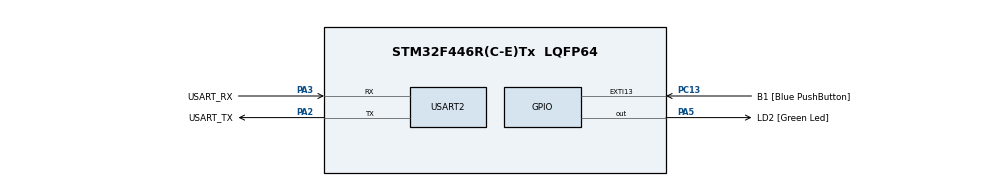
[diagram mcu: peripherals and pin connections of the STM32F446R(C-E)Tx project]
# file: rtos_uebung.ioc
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FREERTOS.Tasks01=defaultTask,0,128,StartDefaultTask,Default,NULL,Dynamic,NULL,NULL
Mcu.Family=STM32F4
Mcu.Name=STM32F446R(C-E)Tx
Mcu.Package=LQFP64
NVIC.EXTI15_10_IRQn=true\:5\:0\:false\:false\:true\:true\:true\:true\:true
NVIC.PriorityGroup=NVIC_PRIORITYGROUP_4
PA13.GPIO_Label=TMS
PA13.Mode=Serial_Wire
PA13.Signal=SYS_JTMS-SWDIO
PA14.GPIO_Label=TCK
PA14.Mode=Serial_Wire
PA14.Signal=SYS_JTCK-SWCLK
PA2.GPIO_Label=USART_TX
PA2.Mode=Asynchronous
PA2.Signal=USART2_TX
PA3.GPIO_Label=USART_RX
PA3.Mode=Asynchronous
PA3.Signal=USART2_RX
PA5.GPIO_Label=LD2 [Green Led]
PA5.Signal=GPIO_Output
PB3.GPIO_Label=SWO
PB3.Signal=SYS_JTDO-SWO
PC13.GPIO_Label=B1 [Blue PushButton]
PC13.GPIO_ModeDefaultEXTI=GPIO_MODE_IT_FALLING
PC13.Signal=GPXTI13
PC14-OSC32_IN.Mode=LSE-External-Oscillator
PC14-OSC32_IN.Signal=RCC_OSC32_IN
PC15-OSC32_OUT.Mode=LSE-External-Oscillator
PC15-OSC32_OUT.Signal=RCC_OSC32_OUT
PH0-OSC_IN.Mode=HSE-External-Oscillator
PH0-OSC_IN.Signal=RCC_OSC_IN
PH1-OSC_OUT.Mode=HSE-External-Oscillator
PH1-OSC_OUT.Signal=RCC_OSC_OUT
ProjectManager.HeapSize=0x200
ProjectManager.StackSize=0x400
ProjectManager.TargetToolchain=STM32CubeIDE
RCC.48MHZClocksFreq_Value=84000000
RCC.AHBFreq_Value=84000000
RCC.APB1CLKDivider=RCC_HCLK_DIV2
RCC.APB1Freq_Value=42000000
RCC.APB1TimFreq_Value=84000000
RCC.APB2Freq_Value=84000000
RCC.APB2TimFreq_Value=84000000
RCC.CortexFreq_Value=84000000
RCC.FLatency-AdvancedSettings=FLASH_LATENCY_2
RCC.HCLKFreq_Value=84000000
RCC.HSE_VALUE=8000000
RCC.HSI_VALUE=16000000
RCC.PLLN=336
RCC.PLLP=RCC_PLLP_DIV4
RCC.SYSCLKFreq_VALUE=84000000
RCC.SYSCLKSource=RCC_SYSCLKSOURCE_PLLCLK
RCC.USBFreq_Value=168000000
RCC.VCOOutputFreq_Value=336000000
USART2.VirtualMode=VM_ASYNC
VP_FREERTOS_VS_CMSIS_V1.Mode=CMSIS_V1
board=NUCLEO-F446RE

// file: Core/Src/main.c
/* USER CODE BEGIN Header */
/**
 ******************************************************************************
 * @file           : main.c
 * @brief          : Main program body
 ******************************************************************************
 * @attention
 *
 * Copyright (c) 2025 STMicroelectronics.
 * All rights reserved.
 *
 * This software is licensed under terms that can be found in the LICENSE file
 * in the root directory of this software component.
 * If no LICENSE file comes with this software, it is provided AS-IS.
 *
 ******************************************************************************
 */
/* USER CODE END Header */
#include "main.h"
#include "FreeRTOS.h"

/* USER CODE BEGIN Includes */
#include "task.h"
/* USER CODE END Includes */

void SystemClock_Config(void);
static void MX_GPIO_Init(void);
static void MX_USART2_UART_Init(void);

/* USER CODE BEGIN 0 */
void TestTask1(void *argument) {
  uint32_t tick_count = 0;
  for (;;) {
    TickType_t current_tick = xTaskGetTickCount();
    uint32_t time_ms = pdTICKS_TO_MS(current_tick);

    LL_GPIO_TogglePin(GPIOA, LL_GPIO_PIN_5);
    tick_count++;

    printf("[Time %lu ms] Task1 LED ticks für 500ms: %lu\n", time_ms, tick_count);
    vTaskDelay(pdMS_TO_TICKS(500));
  }
}

void TestTask2(void *argument) {
  uint32_t tick_count = 0;
  for (;;) {
    TickType_t current_tick = xTaskGetTickCount();
    uint32_t time_ms = pdTICKS_TO_MS(current_tick);

    LL_GPIO_TogglePin(GPIOA, LL_GPIO_PIN_6);
    tick_count++;

    printf("[Time %lu ms] Task2 LED ticks für 5s: %lu\n", time_ms, tick_count);
    vTaskDelay(pdMS_TO_TICKS(5000));
  }
}
/* USER CODE END 0 */

int main(void) {

	/* MCU Configuration--------------------------------------------------------*/

	/* Reset of all peripherals, Initializes the Flash interface and the Systick. */
	LL_APB2_GRP1_EnableClock(LL_APB2_GRP1_PERIPH_SYSCFG);
	LL_APB1_GRP1_EnableClock(LL_APB1_GRP1_PERIPH_PWR);

	/* System interrupt init*/
	NVIC_SetPriorityGrouping(NVIC_PRIORITYGROUP_4);

	/* PendSV_IRQn interrupt configuration */
	NVIC_SetPriority(PendSV_IRQn,
			NVIC_EncodePriority(NVIC_GetPriorityGrouping(), 15, 0));
	/* SysTick_IRQn interrupt configuration */
	NVIC_SetPriority(SysTick_IRQn,
			NVIC_EncodePriority(NVIC_GetPriorityGrouping(), 15, 0));

	/* Configure the system clock */
	SystemClock_Config();

	/* Initialize all configured peripherals */
	MX_GPIO_Init();
	MX_USART2_UART_Init();
	/* USER CODE BEGIN 2 */

	xTaskCreate(TestTask1, "Task1", 128, NULL, 1, NULL);
	xTaskCreate(TestTask2, "Task2", 128, NULL, 1, NULL);
	/* USER CODE END 2 */

	/* Create the thread(s) */
	/* definition and creation of defaultTask */

	/* Start scheduler */
	vTaskStartScheduler();

	/* We should never get here as control is now taken by the scheduler */

	/* Infinite loop */
	while (1) {

	}
}

void SystemClock_Config(void) {
	LL_FLASH_SetLatency(LL_FLASH_LATENCY_2);
	while (LL_FLASH_GetLatency() != LL_FLASH_LATENCY_2) {
	}
	LL_PWR_SetRegulVoltageScaling(LL_PWR_REGU_VOLTAGE_SCALE3);
	LL_PWR_DisableOverDriveMode();
	LL_RCC_HSI_SetCalibTrimming(16);
	LL_RCC_HSI_Enable();

	/* Wait till HSI is ready */
	while (LL_RCC_HSI_IsReady() != 1) {

	}
	LL_RCC_PLL_ConfigDomain_SYS(LL_RCC_PLLSOURCE_HSI, LL_RCC_PLLM_DIV_16, 336,
	LL_RCC_PLLP_DIV_4);
	LL_RCC_PLL_Enable();

	/* Wait till PLL is ready */
	while (LL_RCC_PLL_IsReady() != 1) {

	}
	while (LL_PWR_IsActiveFlag_VOS() == 0) {
	}
	LL_RCC_SetAHBPrescaler(LL_RCC_SYSCLK_DIV_1);
	LL_RCC_SetAPB1Prescaler(LL_RCC_APB1_DIV_2);
	LL_RCC_SetAPB2Prescaler(LL_RCC_APB2_DIV_1);
	LL_RCC_SetSysClkSource(LL_RCC_SYS_CLKSOURCE_PLL);

	/* Wait till System clock is ready */
	while (LL_RCC_GetSysClkSource() != LL_RCC_SYS_CLKSOURCE_STATUS_PLL) {

	}
	LL_Init1msTick(84000000);
	LL_SetSystemCoreClock(84000000);
	LL_RCC_SetTIMPrescaler(LL_RCC_TIM_PRESCALER_TWICE);
}

static void MX_USART2_UART_Init(void) {

	LL_USART_InitTypeDef USART_InitStruct = { 0 };

	LL_GPIO_InitTypeDef GPIO_InitStruct = { 0 };

	/* Peripheral clock enable */
	LL_APB1_GRP1_EnableClock(LL_APB1_GRP1_PERIPH_USART2);

	LL_AHB1_GRP1_EnableClock(LL_AHB1_GRP1_PERIPH_GPIOA);
	/**USART2 GPIO Configuration
	 PA2   ------> USART2_TX
	 PA3   ------> USART2_RX
	 */
	GPIO_InitStruct.Pin = USART_TX_Pin | USART_RX_Pin;
	GPIO_InitStruct.Mode = LL_GPIO_MODE_ALTERNATE;
	GPIO_InitStruct.Speed = LL_GPIO_SPEED_FREQ_VERY_HIGH;
	GPIO_InitStruct.OutputType = LL_GPIO_OUTPUT_PUSHPULL;
	GPIO_InitStruct.Pull = LL_GPIO_PULL_NO;
	GPIO_InitStruct.Alternate = LL_GPIO_AF_7;
	LL_GPIO_Init(GPIOA, &GPIO_InitStruct);

	USART_InitStruct.BaudRate = 115200;
	USART_InitStruct.DataWidth = LL_USART_DATAWIDTH_8B;
	USART_InitStruct.StopBits = LL_USART_STOPBITS_1;
	USART_InitStruct.Parity = LL_USART_PARITY_NONE;
	USART_InitStruct.TransferDirection = LL_USART_DIRECTION_TX_RX;
	USART_InitStruct.HardwareFlowControl = LL_USART_HWCONTROL_NONE;
	USART_InitStruct.OverSampling = LL_USART_OVERSAMPLING_16;
	LL_USART_Init(USART2, &USART_InitStruct);
	LL_USART_ConfigAsyncMode(USART2);
	LL_USART_Enable(USART2);

}

static void MX_GPIO_Init(void) {
	LL_EXTI_InitTypeDef EXTI_InitStruct = { 0 };
	LL_GPIO_InitTypeDef GPIO_InitStruct = { 0 };

	/* GPIO Ports Clock Enable */
	LL_AHB1_GRP1_EnableClock(LL_AHB1_GRP1_PERIPH_GPIOC);
	LL_AHB1_GRP1_EnableClock(LL_AHB1_GRP1_PERIPH_GPIOH);
	LL_AHB1_GRP1_EnableClock(LL_AHB1_GRP1_PERIPH_GPIOA);
	LL_AHB1_GRP1_EnableClock(LL_AHB1_GRP1_PERIPH_GPIOB);

	/**/
	LL_GPIO_ResetOutputPin(LD2_GPIO_Port, LD2_Pin);

	/**/
	LL_SYSCFG_SetEXTISource(LL_SYSCFG_EXTI_PORTC, LL_SYSCFG_EXTI_LINE13);

	/**/
	EXTI_InitStruct.Line_0_31 = LL_EXTI_LINE_13;
	EXTI_InitStruct.LineCommand = ENABLE;
	EXTI_InitStruct.Mode = LL_EXTI_MODE_IT;
	EXTI_InitStruct.Trigger = LL_EXTI_TRIGGER_FALLING;
	LL_EXTI_Init(&EXTI_InitStruct);

	/**/
	LL_GPIO_SetPinPull(B1_GPIO_Port, B1_Pin, LL_GPIO_PULL_NO);

	/**/
	LL_GPIO_SetPinMode(B1_GPIO_Port, B1_Pin, LL_GPIO_MODE_INPUT);

	/**/
	GPIO_InitStruct.Pin = LD2_Pin;
	GPIO_InitStruct.Mode = LL_GPIO_MODE_OUTPUT;
	GPIO_InitStruct.Speed = LL_GPIO_SPEED_FREQ_LOW;
	GPIO_InitStruct.OutputType = LL_GPIO_OUTPUT_PUSHPULL;
	GPIO_InitStruct.Pull = LL_GPIO_PULL_NO;
	LL_GPIO_Init(LD2_GPIO_Port, &GPIO_InitStruct);

	/* EXTI interrupt init*/
	NVIC_SetPriority(EXTI15_10_IRQn,
			NVIC_EncodePriority(NVIC_GetPriorityGrouping(), 5, 0));
	NVIC_EnableIRQ(EXTI15_10_IRQn);

}

void StartDefaultTask(void const *argument) {
	/* USER CODE BEGIN 5 */
	/* Infinite loop */
	for (;;) {
		vTaskDelay(pdMS_TO_TICKS(1));
	}
	/* USER CODE END 5 */
}

void Error_Handler(void) {
	__disable_irq();
	while (1) {
	}
}

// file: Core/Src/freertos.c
/* USER CODE BEGIN Header */
/**
 ******************************************************************************
 * File Name          : freertos.c
 * Description        : Code for freertos applications
 ******************************************************************************
 * @attention
 *
 * Copyright (c) 2025 STMicroelectronics.
 * All rights reserved.
 *
 * This software is licensed under terms that can be found in the LICENSE file
 * in the root directory of this software component.
 * If no LICENSE file comes with this software, it is provided AS-IS.
 *
 ******************************************************************************
 */
/* USER CODE END Header */

#include "FreeRTOS.h"
#include "task.h"
#include "main.h"

/* GetIdleTaskMemory prototype (linked to static allocation support) */
void vApplicationGetIdleTaskMemory( StaticTask_t **ppxIdleTaskTCBBuffer, StackType_t **ppxIdleTaskStackBuffer, uint32_t *pulIdleTaskStackSize );
/* USER CODE BEGIN GET_IDLE_TASK_MEMORY */
static StaticTask_t xIdleTaskTCBBuffer;
static StackType_t xIdleStack[configMINIMAL_STACK_SIZE];

void vApplicationGetIdleTaskMemory(StaticTask_t **ppxIdleTaskTCBBuffer,
		StackType_t **ppxIdleTaskStackBuffer, uint32_t *pulIdleTaskStackSize) {
	*ppxIdleTaskTCBBuffer = &xIdleTaskTCBBuffer;
	*ppxIdleTaskStackBuffer = &xIdleStack[0];
	*pulIdleTaskStackSize = configMINIMAL_STACK_SIZE;
	/* place for user code */
}
/* USER CODE END GET_IDLE_TASK_MEMORY */
